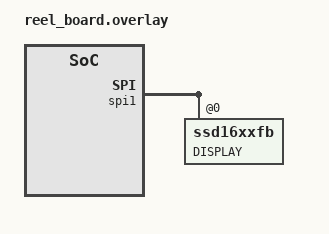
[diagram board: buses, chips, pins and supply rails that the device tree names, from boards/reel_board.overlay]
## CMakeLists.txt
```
# SPDX-License-Identifier: Apache-2.0

cmake_minimum_required(VERSION 3.15.7)

find_package(Zephyr REQUIRED HINTS $ENV{ZEPHYR_BASE})
project(lvgl)

FILE(GLOB app_sources src/*.c)
target_sources(app PRIVATE ${app_sources})
```

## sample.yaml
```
sample:
  description: LVGL sample application
  name: lvgl
tests:
  sample.gui.lvgl:
    harness: display
    platform_allow: reel_board mimxrt1050_evk mimxrt1060_evk mimxrt1064_evk
    tags: samples display gui
  sample.display.adafruit_2_8_tft_touch_v2:
    platform_allow: nrf52840dk_nrf52840
    extra_args: SHIELD=adafruit_2_8_tft_touch_v2
    tags: shield
  sample.display.waveshare_epaper_gdeh0213b1:
    platform_allow: nrf52840dk_nrf52840
    extra_args: SHIELD=waveshare_epaper_gdeh0213b1
    tags: shield
  sample.display.waveshare_epaper_gdeh0213b72:
    platform_allow: nrf52840dk_nrf52840
    extra_args: SHIELD=waveshare_epaper_gdeh0213b72
    tags: shield
  sample.display.waveshare_epaper_gdeh029a1:
    platform_allow: nrf52840dk_nrf52840
    extra_args: SHIELD=waveshare_epaper_gdeh029a1
    tags: shield
  sample.display.lvgl.sdl:
    build_only: true
    platform_allow: native_posix_64
    tags: samples display gui
  sample.display.buydisplay_2_8_tft_touch_arduino:
    platform_allow: nrf52840dk_nrf52840
    extra_args: SHIELD=buydisplay_2_8_tft_touch_arduino
    tags: shield
  sample.display.dummy:
    build_only: true
    platform_allow: native_posix
    extra_configs:
      - CONFIG_DUMMY_DISPLAY=y
      - CONFIG_DUMMY_DISPLAY_DEV_NAME="DISPLAY"
      - CONFIG_KSCAN=n
      - CONFIG_SDL_DISPLAY=n
    tags: samples display gui
```

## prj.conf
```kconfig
CONFIG_HEAP_MEM_POOL_SIZE=16384
CONFIG_MAIN_STACK_SIZE=2048

CONFIG_DISPLAY=y
CONFIG_DISPLAY_LOG_LEVEL_ERR=y

CONFIG_LOG=y

CONFIG_LVGL=y
CONFIG_LVGL_USE_LABEL=y
CONFIG_LVGL_USE_CONT=y
CONFIG_LVGL_USE_BTN=y
CONFIG_LVGL_USE_THEME_MATERIAL=y
```

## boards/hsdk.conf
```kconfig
CONFIG_ILI9340=y

CONFIG_LVGL_HOR_RES_MAX=320
CONFIG_LVGL_VER_RES_MAX=240
CONFIG_LVGL_DPI=100
```

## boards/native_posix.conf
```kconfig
CONFIG_SDL_DISPLAY_DEV_NAME="DISPLAY"
CONFIG_SDL_DISPLAY_X_RES=320
CONFIG_SDL_DISPLAY_Y_RES=240

CONFIG_KSCAN=y
CONFIG_LVGL_POINTER_KSCAN=y
CONFIG_LVGL_HOR_RES_MAX=320
CONFIG_LVGL_VER_RES_MAX=240
CONFIG_LVGL_DPI=100
```

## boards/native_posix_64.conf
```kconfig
CONFIG_SDL_DISPLAY_DEV_NAME="DISPLAY"
CONFIG_SDL_DISPLAY_X_RES=320
CONFIG_SDL_DISPLAY_Y_RES=240

CONFIG_KSCAN=y
CONFIG_LVGL_POINTER_KSCAN=y
CONFIG_LV_HOR_RES_MAX=320
CONFIG_LV_VER_RES_MAX=240
CONFIG_LV_DPI=100
```

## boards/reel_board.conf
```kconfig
CONFIG_SPI=y
CONFIG_SSD16XX=y

CONFIG_LV_COLOR_DEPTH=1
CONFIG_LVGL_BITS_PER_PIXEL=1
CONFIG_LV_HOR_RES_MAX=250
CONFIG_LV_VER_RES_MAX=120
CONFIG_LV_DPI=130
CONFIG_LVGL_VDB_SIZE=16
```

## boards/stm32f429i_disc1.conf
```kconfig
# enable spi
CONFIG_SPI=y

# enable display
CONFIG_ILI9340=y

CONFIG_LVGL_HOR_RES_MAX=240
CONFIG_LVGL_VER_RES_MAX=320
CONFIG_LVGL_DPI=100
```

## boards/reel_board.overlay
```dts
/*
 * Copyright (c) 2018 Jan Van Winkel <jan.van_winkel@dxplore.eu>
 *
 * SPDX-License-Identifier: Apache-2.0
 */

&spi1 {
	ssd16xxfb@0 {
		label = "DISPLAY";
	};
};
```

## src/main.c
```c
/*
 * Copyright (c) 2018 Jan Van Winkel <jan.van_winkel@dxplore.eu>
 *
 * SPDX-License-Identifier: Apache-2.0
 */

#include <device.h>
#include <drivers/display.h>
#include <lvgl.h>
#include <stdio.h>
#include <string.h>
#include <zephyr.h>

#define LOG_LEVEL CONFIG_LOG_DEFAULT_LEVEL
#include <logging/log.h>
LOG_MODULE_REGISTER(app);

void main(void)
{
	uint32_t count = 0U;
	char count_str[11] = {0};
	struct device *display_dev;
	lv_obj_t *hello_world_label;
	lv_obj_t *count_label;

	display_dev = device_get_binding(CONFIG_LVGL_DISPLAY_DEV_NAME);

	if (display_dev == NULL) {
		LOG_ERR("device not found.  Aborting test.");
		return;
	}

	if (IS_ENABLED(CONFIG_LVGL_POINTER_KSCAN)) {
		lv_obj_t *hello_world_button;

		hello_world_button = lv_btn_create(lv_scr_act(), NULL);
		lv_obj_align(hello_world_button, NULL, LV_ALIGN_CENTER, 0, 0);
		lv_btn_set_fit(hello_world_button, LV_FIT_TIGHT);
		hello_world_label = lv_label_create(hello_world_button, NULL);
	} else {
		hello_world_label = lv_label_create(lv_scr_act(), NULL);
	}

	lv_label_set_text(hello_world_label, "Hello world!");
	lv_obj_align(hello_world_label, NULL, LV_ALIGN_CENTER, 0, 0);

	count_label = lv_label_create(lv_scr_act(), NULL);
	lv_obj_align(count_label, NULL, LV_ALIGN_IN_BOTTOM_MID, 0, 0);

	lv_task_handler();
	display_blanking_off(display_dev);

	while (1) {
		if ((count % 100) == 0U) {
			sprintf(count_str, "%d", count/100U);
			lv_label_set_text(count_label, count_str);
		}
		lv_task_handler();
		k_sleep(K_MSEC(10));
		++count;
	}
}
```
